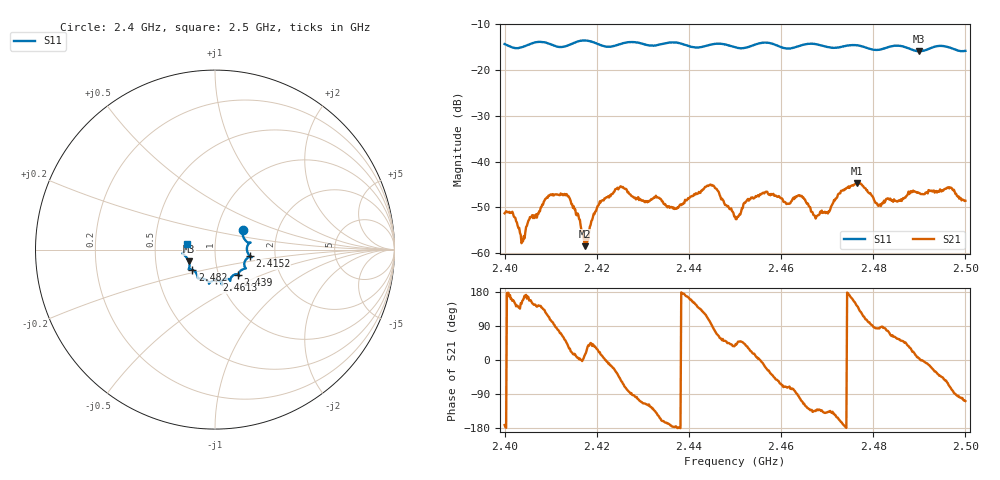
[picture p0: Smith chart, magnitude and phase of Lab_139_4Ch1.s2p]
# Hz S RI R 50
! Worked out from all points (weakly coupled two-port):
!   601 points, 2.4 GHz to 2.5 GHz, reference 50 ohm
!   highest |S21| = -44.67 dB at 2.4765 GHz (marker M1); lowest = -58.5 dB at 2.4175 GHz (marker M2)
!   lowest |S11| = -15.9 dB at 2.4898 GHz (marker M3), VSWR 1.38, Z = 37 - j5.01 ohm
!   |S11| at or under -10 dB: start of sweep to end of sweep
!   S12 and S22 are empty: the file has one direction only
!   S11 on the Smith chart (normalised r, x): 2.4 GHz: 1.33, +0.31; 2.4152 GHz: 1.48, -0.11; 2.439 GHz: 1.24, -0.36; 2.4613 GHz: 0.96, -0.34; 2.482 GHz: 0.76, -0.17; 2.5 GHz: 0.73, +0.05
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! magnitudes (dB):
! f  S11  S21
! 2.4 GHz  -14.4  -51.3
! 2.4038 GHz  -15.0  -57.5
! 2.4097 GHz  -14.3  -47.5
! 2.4152 GHz  -14.1  -50.4
! 2.4167 GHz  -13.6  -54.9
! 2.4175 GHz  -13.6  -58.5
! 2.4205 GHz  -14.4  -49.3
! 2.4245 GHz  -14.5  -45.7
! 2.4333 GHz  -14.5  -47.9
! 2.439 GHz  -14.5  -49.1
! 2.445 GHz  -14.4  -45.1
! 2.45 GHz  -15.1  -52.0
! 2.4565 GHz  -14.0  -46.8
! 2.4613 GHz  -15.3  -49.2
! 2.4642 GHz  -14.7  -47.6
! 2.4667 GHz  -14.3  -51.0
! 2.4702 GHz  -15.0  -51.3
! 2.4765 GHz  -14.6  -44.7
! 2.482 GHz  -15.4  -49.0
! 2.4833 GHz  -15.0  -48.2
! 2.4898 GHz  -15.9  -46.9
! 2.5 GHz  -15.8  -48.6
